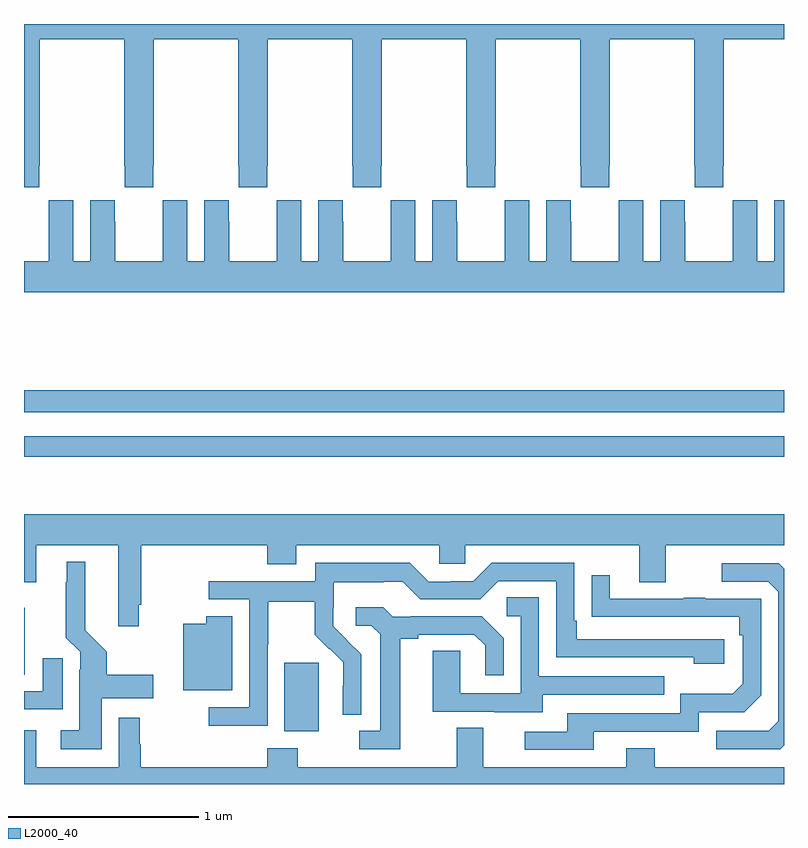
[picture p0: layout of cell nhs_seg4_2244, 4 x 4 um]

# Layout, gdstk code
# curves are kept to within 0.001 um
import gdstk
lib = gdstk.Library(unit=1e-6, precision=1e-09)
def R(c, l, rs):  # rectangles x0, y0, x1, y1
    for r in rs: c.add(gdstk.rectangle(r[:2], r[2:], *l))
def P(c, l, *ps):  # polygons
    for p in ps: c.add(gdstk.Polygon(p, *l))
L2000_40 = (2000, 40)

nhs_seg4_2244 = lib.new_cell('nhs_seg4_2244')
R(nhs_seg4_2244, L2000_40, [(228.371,793.178,228.55,793.539), (227,793.474,227.005,793.828), (227,794.622,231,794.73), (227,794.856,231,794.972)])
P(nhs_seg4_2244, L2000_40, [(227,796.041),(227.079,796.041),(227.079,796.153),(227.082,796.153),(227.082,796.82),(227.527,796.82),(227.527,796.153),(227.529,796.153),(227.529,796.041),(227.679,796.041),(227.679,796.153),(227.682,796.153),(227.682,796.82),(228.127,796.82),(228.127,796.153),(228.129,796.153),(228.129,796.041),(228.279,796.041),(228.279,796.153),(228.282,796.153),(228.282,796.82),(228.727,796.82),(228.727,796.153),(228.729,796.153),(228.729,796.041),(228.879,796.041),(228.879,796.153),(228.882,796.153),(228.882,796.82),(229.327,796.82),(229.327,796.153),(229.329,796.153),(229.329,796.041),(229.479,796.041),(229.479,796.153),(229.482,796.153),(229.482,796.82),(229.927,796.82),(229.927,796.153),(229.929,796.153),(229.929,796.041),(230.079,796.041),(230.079,796.153),(230.082,796.153),(230.082,796.82),(230.527,796.82),(230.527,796.153),(230.529,796.153),(230.529,796.041),(230.679,796.041),(230.679,796.153),(230.682,796.153),(230.682,796.82),(231,796.82),(231,796.9),(227,796.9)],
  [(231,795.973),(230.948,795.973),(230.948,795.652),(230.86,795.652),(230.86,795.973),(230.73,795.973),(230.73,795.86),(230.729,795.86),(230.729,795.652),(230.479,795.652),(230.479,795.86),(230.478,795.86),(230.478,795.973),(230.348,795.973),(230.348,795.652),(230.26,795.652),(230.26,795.973),(230.13,795.973),(230.13,795.86),(230.129,795.86),(230.129,795.652),(229.879,795.652),(229.879,795.86),(229.878,795.86),(229.878,795.973),(229.748,795.973),(229.748,795.652),(229.66,795.652),(229.66,795.973),(229.53,795.973),(229.53,795.86),(229.529,795.86),(229.529,795.652),(229.279,795.652),(229.279,795.86),(229.278,795.86),(229.278,795.973),(229.148,795.973),(229.148,795.652),(229.06,795.652),(229.06,795.973),(228.93,795.973),(228.93,795.86),(228.929,795.86),(228.929,795.652),(228.679,795.652),(228.679,795.86),(228.678,795.86),(228.678,795.973),(228.548,795.973),(228.548,795.652),(228.46,795.652),(228.46,795.973),(228.33,795.973),(228.33,795.86),(228.329,795.86),(228.329,795.652),(228.079,795.652),(228.079,795.86),(228.078,795.86),(228.078,795.973),(227.948,795.973),(227.948,795.652),(227.86,795.652),(227.86,795.973),(227.73,795.973),(227.73,795.86),(227.729,795.86),(227.729,795.652),(227.479,795.652),(227.479,795.86),(227.478,795.86),(227.478,795.973),(227.348,795.973),(227.348,795.652),(227.26,795.652),(227.26,795.973),(227.13,795.973),(227.13,795.86),(227.129,795.86),(227.129,795.652),(227,795.652),(227,795.488),(231,795.488)],
  [(227.605,793.843),(227.618,793.843),(227.618,794.156),(228.281,794.156),(228.281,794.057),(228.433,794.057),(228.433,794.156),(229.185,794.156),(229.185,794.058),(229.323,794.058),(229.323,794.156),(230.237,794.156),(230.237,793.962),(230.377,793.962),(230.377,794.156),(231,794.156),(231,794.32),(227,794.32),(227,793.962),(227.065,793.962),(227.065,794.156),(227.495,794.156),(227.495,793.731),(227.605,793.731)],
  [(227.41,793.352),(227.68,793.352),(227.68,793.474),(227.436,793.474),(227.436,793.595),(227.323,793.708),(227.323,794.071),(227.225,794.071),(227.225,793.961),(227.221,793.961),(227.221,793.67),(227.295,793.596),(227.295,793.502),(227.291,793.502),(227.291,793.183),(227.193,793.183),(227.193,793.082),(227.41,793.082)],
  [(228.282,793.636),(228.285,793.636),(228.285,793.86),(228.529,793.86),(228.529,793.685),(228.606,793.608),(228.609,793.611),(228.68,793.541),(228.68,793.418),(228.678,793.418),(228.678,793.264),(228.774,793.264),(228.774,793.582),(228.628,793.73),(228.628,793.827),(228.63,793.827),(228.63,793.961),(228.893,793.961),(228.893,793.965),(228.993,793.965),(229.086,793.872),(229.401,793.872),(229.497,793.968),(229.8,793.968),(229.8,793.566),(230.525,793.566),(230.525,793.532),(230.686,793.532),(230.686,793.662),(229.909,793.662),(229.909,793.759),(229.896,793.759),(229.896,794.064),(229.461,794.064),(229.365,793.968),(229.247,793.968),(229.247,793.965),(229.131,793.965),(229.031,794.065),(228.534,794.065),(228.534,793.968),(227.973,793.968),(227.973,793.872),(228.186,793.872),(228.186,793.305),(227.973,793.305),(227.973,793.207),(228.282,793.207)],
  [(231,793.104),(231,794.034),(230.973,794.061),(230.673,794.061),(230.673,793.965),(230.916,793.965),(230.97,793.911),(230.97,793.23),(230.919,793.179),(230.643,793.179),(230.643,793.083),(230.979,793.083)],
  [(229.999,793.176),(230.55,793.176),(230.55,793.278),(230.79,793.278),(230.88,793.368),(230.88,793.875),(230.585,793.875),(230.585,793.88),(230.473,793.88),(230.473,793.875),(230.083,793.875),(230.083,793.999),(229.987,793.999),(229.987,793.78),(230.764,793.779),(230.764,793.682),(230.784,793.682),(230.784,793.428),(230.731,793.375),(230.454,793.375),(230.454,793.272),(229.859,793.272),(229.859,793.176),(229.635,793.176),(229.635,793.08),(229.999,793.08)],
  [(229.729,793.371),(230.369,793.371),(230.369,793.467),(229.71,793.467),(229.71,793.883),(229.542,793.883),(229.542,793.782),(229.614,793.782),(229.614,793.377),(229.296,793.377),(229.296,793.601),(229.151,793.601),(229.151,793.281),(229.475,793.281),(229.475,793.277),(229.729,793.277)],
  [(228.979,793.664),(229.075,793.664),(229.075,793.686),(229.37,793.686),(229.427,793.629),(229.427,793.473),(229.524,793.473),(229.524,793.666),(229.408,793.782),(229.036,793.782),(229.036,793.779),(228.942,793.779),(228.89,793.831),(228.747,793.831),(228.747,793.734),(228.828,793.734),(228.875,793.687),(228.875,793.179),(228.765,793.179),(228.765,793.083),(228.979,793.083)],
  [(228.097,793.783),(227.959,793.783),(227.959,793.744),(227.837,793.744),(227.837,793.394),(228.097,793.394)],
  [(227.203,793.561),(227.099,793.561),(227.099,793.389),(227,793.389),(227,793.293),(227.203,793.293)],
  [(231,792.988),(230.319,792.988),(230.319,793.087),(230.171,793.087),(230.171,792.988),(229.417,792.988),(229.417,793.196),(229.277,793.196),(229.277,792.988),(228.441,792.988),(228.441,793.087),(228.281,793.087),(228.281,792.988),(227.615,792.988),(227.615,793.11),(227.608,793.11),(227.608,793.249),(227.499,793.249),(227.499,792.988),(227.065,792.988),(227.065,793.183),(227,793.183),(227,792.9),(231,792.9)])

lib.write_gds('nhs_seg4_2244.gds')
